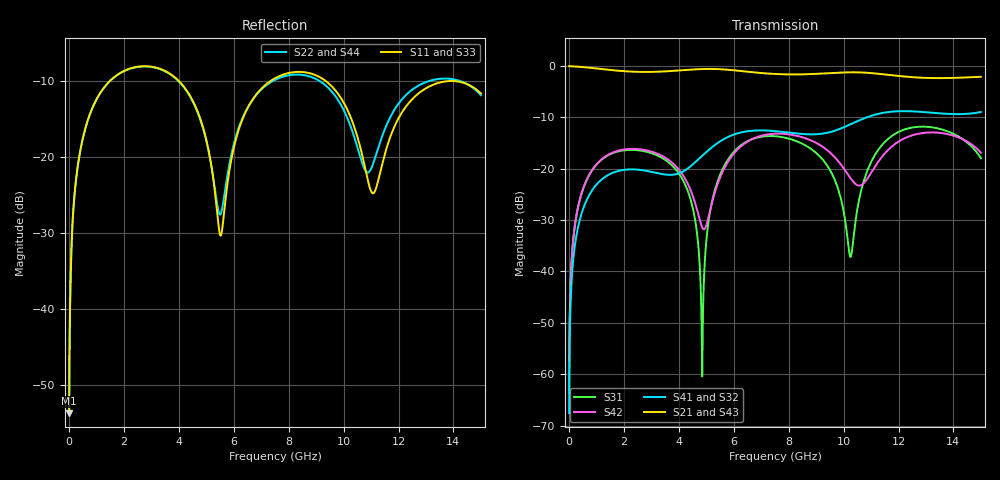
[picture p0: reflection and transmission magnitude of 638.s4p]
! Created with skrf 1.8.0 (http://scikit-rf.org).
# GHz S RI R 50.0
!freq ReS11 ImS11 ReS12 ImS12 ReS13 ImS13
! ReS14 ImS14
! ReS21 ImS21 ReS22 ImS22 ReS23 ImS23
! ReS24 ImS24
! ReS31 ImS31 ReS32 ImS32 ReS33 ImS33
! ReS34 ImS34
! ReS41 ImS41 ReS42 ImS42 ReS43 ImS43
! ReS44 ImS44
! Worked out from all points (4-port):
!   2499 points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, 5 MHz to 15 GHz, reference 50 ohm
!   strongest paths, dB at 5 MHz, 3.476 GHz, 7.19 GHz, 11.1 GHz, 15 GHz:
!     S21: 0.0, -1.0, -1.4, -1.4, -2.1
!     S43: 0.0, -1.0, -1.4, -1.4, -2.1
!     S41: -67.6, -21.1, -12.6, -9.5, -8.9
!     S32: -67.6, -21.1, -12.6, -9.5, -9.0
!     S42: -63.6, -17.7, -13.3, -20.0, -16.9
!     S31: -63.6, -18.2, -13.6, -17.7, -17.9
!   lowest |S11| = -53.8 dB at 5 MHz (marker M1), VSWR 1.00, Z = 50.2 + j0.124 ohm
!   |S11| at or under -10 dB: start of sweep to 1.496 GHz; 3.996 GHz to 7.348 GHz (3.352 GHz wide, 59.1 % of centre); 9.34 GHz to end of sweep
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0.005  0.00163 0.00124  0.9983 -0.00317  8.2e-05 0.000652  -7.96e-05 -0.000408
       0.9983 -0.00317  0.00163 0.00124  -7.96e-05 -0.000408  8.21e-05 0.000652
       8.2e-05 0.000652  -7.96e-05 -0.000408  0.00163 0.00124  0.9983 -0.00317
       -7.96e-05 -0.000408  8.21e-05 0.000652  0.9983 -0.00317  0.00163 0.00124
0.3126303  0.0238 0.0815  0.9675 -0.1974  0.0108 0.0388  -0.00914 -0.024
           0.9675 -0.1974  0.0238 0.0815  -0.00914 -0.024  0.0112 0.0387
           0.0108 0.0388  -0.00914 -0.024  0.0238 0.0815  0.9675 -0.1975
           -0.00914 -0.024  0.0112 0.0387  0.9675 -0.1975  0.0238 0.0815
1.469362  0.2528 0.1842  0.5881 -0.7058  0.1184 0.0697  -0.0873 -0.0126
          0.5881 -0.7058  0.2511 0.1852  -0.0873 -0.0127  0.1237 0.0632
          0.1184 0.0697  -0.0873 -0.0127  0.2529 0.1842  0.5881 -0.7059
          -0.0873 -0.0126  0.1237 0.0632  0.5881 -0.7059  0.2511 0.1852
4.848636  0.0821 -0.1414  -0.8374 -0.4185  -0.000794 -0.000566  -0.0556 0.1216
          -0.8374 -0.4185  0.0905 -0.133  -0.0559 0.1214  -0.0229 -0.0143
          -0.000794 -0.000566  -0.0559 0.1214  0.0833 -0.1411  -0.8375 -0.4184
          -0.0556 0.1216  -0.0229 -0.0143  -0.8375 -0.4184  0.0895 -0.1337
6.446436  0.1401 0.1419  -0.7826 0.4132  0.1287 0.1293  0.1438 0.1807
          -0.7826 0.4132  0.1483 0.1362  0.1429 0.1806  0.1323 0.1224
          0.1287 0.1293  0.1429 0.1806  0.1427 0.1408  -0.7824 0.4134
          0.1438 0.1807  0.1323 0.1224  -0.7824 0.4134  0.1461 0.1375
10.96082  0.056 -0.0267  0.8409 0.1651  0.0355 0.1043  0.0532 -0.3205
          0.8409 0.1651  0.0802 0.0107  0.056 -0.3199  -0.0473 0.074
          0.0355 0.1043  0.056 -0.3199  0.0566 -0.0275  0.8409 0.1644
          0.0532 -0.3205  -0.0473 0.074  0.8409 0.1644  0.0804 0.01
15  0.2343 -0.1155  -0.3021 -0.7263  0.0619 -0.1109  -0.309 0.1791
    -0.3021 -0.7263  0.2225 -0.1231  -0.3108 0.1718  0.0483 -0.1352
    0.0619 -0.1109  -0.3108 0.1718  0.234 -0.1296  -0.3028 -0.7245
    -0.309 0.1791  0.0483 -0.1352  -0.3028 -0.7245  0.2309 -0.1136
